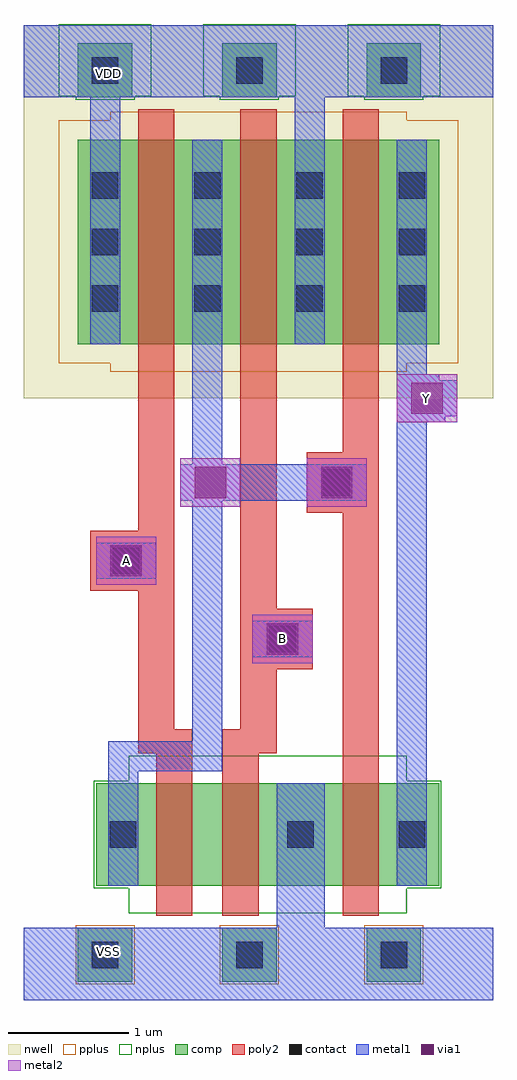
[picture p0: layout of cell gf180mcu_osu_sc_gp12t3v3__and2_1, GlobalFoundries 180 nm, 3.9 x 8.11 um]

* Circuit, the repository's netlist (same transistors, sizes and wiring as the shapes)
* Copyright 2022 Google LLC
*
* Licensed under the Apache License, Version 2.0 (the "License");
* you may not use this file except in compliance with the License.
* You may obtain a copy of the License at
*
*      http://www.apache.org/licenses/LICENSE-2.0
*
* Unless required by applicable law or agreed to in writing, software
* distributed under the License is distributed on an "AS IS" BASIS,
* WITHOUT WARRANTIES OR CONDITIONS OF ANY KIND, either express or implied.
* See the License for the specific language governing permissions and
* limitations under the License.

.inc "/import/yukari1/lrburle/OSU_180/char/techfiles/design.hspice"
.lib "/import/yukari1/lrburle/OSU_180/char/techfiles/sm141064.hspice" typical

.GLOBAL VDD
.GLOBAL VSS

.option scale=0.05u

.subckt gf180mcu_osu_sc_gp12t3v3__and2_1 A B Y
X0 Y a_12_19 VDD VDD pmos_3p3 w=34 l=6
X1 VDD B a_12_19 VDD pmos_3p3 w=34 l=6
X2 a_12_19 A VDD VDD pmos_3p3 w=34 l=6
X3 Y a_12_19 VSS VSS nmos_3p3 w=17 l=6
X4 a_28_19 A a_12_19 VSS nmos_3p3 w=17 l=6
X5 VSS B a_28_19 VSS nmos_3p3 w=17 l=6
.ends

** hspice subcircuit dictionary

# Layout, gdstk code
import gdstk
lib = gdstk.Library(unit=1e-6, precision=1e-09)
def R(c, l, rs):  # rectangles x0, y0, x1, y1
    for r in rs: c.add(gdstk.rectangle(r[:2], r[2:], *l))
def A(c, l, x, y, w, h, nx, ny, dx, dy):  # array of equal rectangles
    R(c, l, [(x+i*dx, y+j*dy, x+i*dx+w, y+j*dy+h) for i in range(nx) for j in range(ny)])
nwell = (21, 0)
comp = (22, 0)
poly2 = (30, 0)
pplus = (31, 0)
nplus = (32, 0)
contact = (33, 0)
metal1 = (34, 0)
via1 = (35, 0)
metal2 = (36, 0)

gf180mcu_osu_sc_gp12t3v3 = lib.new_cell('gf180mcu_osu_sc_gp12t3v3__and2_1')
R(gf180mcu_osu_sc_gp12t3v3, nwell, [(0,5,3.9,8.1)])
A(gf180mcu_osu_sc_gp12t3v3, comp, 0.45, 0.15, 0.45, 0.45, 3, 2, 1.2, 7.35)
R(gf180mcu_osu_sc_gp12t3v3, comp, [(0.6,0.95,3.45,1.8), (0.45,5.45,3.45,7.15)])
R(gf180mcu_osu_sc_gp12t3v3, poly2, [(1.1,0.7,1.4,2.05), (1.65,0.7,1.95,2.05), (2.65,0.7,2.95,4.05), (0.95,2.05,1.4,2.25), (1.65,2.05,2.1,2.25), (0.95,2.25,1.25,3.4), (1.8,2.25,2.1,2.75), (1.8,2.75,2.4,3.25), (1.8,3.25,2.1,7.4), (0.55,3.4,1.25,3.9), (0.95,3.9,1.25,7.4), (2.35,4.05,2.95,4.55), (2.65,4.55,2.95,7.4)])
A(gf180mcu_osu_sc_gp12t3v3, pplus, 0.43, 0.13, 0.49, 0.49, 3, 1, 1.2, 0)
R(gf180mcu_osu_sc_gp12t3v3, pplus, [(0.72,5.22,3.18,5.29), (0.29,5.29,3.61,7.31), (0.72,7.31,3.18,7.38)])
A(gf180mcu_osu_sc_gp12t3v3, nplus, 0.43, 7.48, 0.49, 0.03, 3, 1, 1.2, 0)
A(gf180mcu_osu_sc_gp12t3v3, nplus, 0.29, 7.51, 0.77, 0.6, 3, 1, 1.2, 0)
R(gf180mcu_osu_sc_gp12t3v3, nplus, [(0.87,0.72,3.18,0.93), (0.58,0.93,3.47,1.82), (0.87,1.82,3.18,2.03)])
A(gf180mcu_osu_sc_gp12t3v3, contact, 0.565, 0.265, 0.22, 0.22, 3, 2, 1.2, 7.35)
A(gf180mcu_osu_sc_gp12t3v3, contact, 0.565, 5.72, 0.22, 0.22, 4, 3, 0.85, 0.47)
R(gf180mcu_osu_sc_gp12t3v3, contact, [(0.715,1.265,0.935,1.485), (2.19,1.265,2.41,1.485), (3.115,1.265,3.335,1.485), (2.04,2.89,2.26,3.11), (0.74,3.54,0.96,3.76), (2.49,4.19,2.71,4.41)])
R(gf180mcu_osu_sc_gp12t3v3, metal1, [(0,0,3.9,0.6), (2.1,0.6,2.5,1.8), (0.7,0.95,0.95,1.9), (3.1,0.95,3.35,4.8), (0.7,1.9,1.65,2.15), (1.4,2.15,1.65,4.15), (1.9,2.85,2.4,3.15), (0.6,3.5,1.1,3.8), (1.3,4.15,2.85,4.45), (1.4,4.45,1.65,7.15), (3.1,4.8,3.5,4.85), (3.1,4.85,3.6,5.15), (3.1,5.15,3.45,5.2), (3.1,5.2,3.35,7.15), (0.55,5.45,0.8,7.5), (2.25,5.45,2.5,7.5), (0,7.5,3.9,8.1)])
R(gf180mcu_osu_sc_gp12t3v3, via1, [(2.02,2.87,2.28,3.13), (0.72,3.52,0.98,3.78), (1.42,4.17,1.68,4.43), (2.47,4.17,2.73,4.43), (3.22,4.87,3.48,5.13)])
R(gf180mcu_osu_sc_gp12t3v3, metal2, [(1.9,2.8,2.4,3.2), (0.6,3.45,1.1,3.85), (1.3,4.1,1.8,4.5), (2.35,4.1,2.85,4.5), (3.1,4.8,3.6,5.2)])
gf180mcu_osu_sc_gp12t3v3.add(gdstk.Label('VDD', (0.7,7.7), layer=34, texttype=0))
gf180mcu_osu_sc_gp12t3v3.add(gdstk.Label('VSS', (0.7,0.4), layer=34, texttype=0))
gf180mcu_osu_sc_gp12t3v3.add(gdstk.Label('A', (0.85,3.65), layer=36, texttype=10))
gf180mcu_osu_sc_gp12t3v3.add(gdstk.Label('B', (2.15,3), layer=36, texttype=10))
gf180mcu_osu_sc_gp12t3v3.add(gdstk.Label('Y', (3.35,5), layer=36, texttype=10))

lib.write_gds('gf180mcu_osu_sc_gp12t3v3__and2_1.gds')
